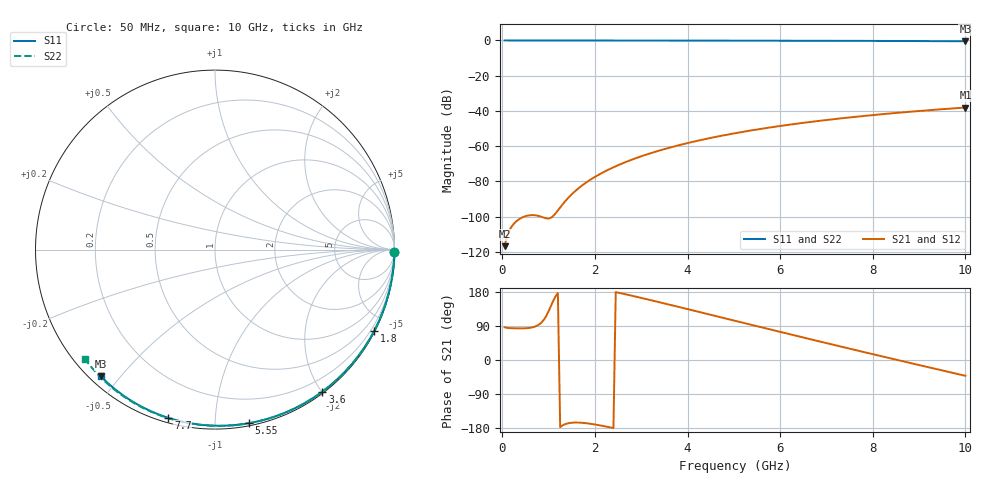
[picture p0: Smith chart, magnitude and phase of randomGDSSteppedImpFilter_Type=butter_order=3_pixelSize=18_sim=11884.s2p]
! freq	dB(S11)	phase(S11)	dB(S12)	phase(S12)
!  dB(S21)	phase(S21)	dB(S22)	phase(S22)
!S-par simulation data
#  GHz  S  DB  R 50
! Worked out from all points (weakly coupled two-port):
!   200 points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, 50 MHz to 10 GHz, reference 50 ohm
!   highest |S21| = -38.08 dB at 10 GHz (marker M1); lowest = -116.8 dB at 50 MHz (marker M2)
!   lowest |S11| = -0.4 dB at 10 GHz (marker M3), VSWR 39.00, Z = 1.54 - j22.2 ohm
!   |S11| at or under -10 dB: nowhere
!   |S22| runs from -0.5 to 0.0 dB; largest |S21 - S12| = 0
!   S11 on the Smith chart (normalised r, x): 50 MHz: open; 1.8 GHz: 0.04, -4.16; 3.6 GHz: 0.02, -2.01; 5.55 GHz: 0.02, -1.21; 7.7 GHz: 0.02, -0.76; 10 GHz: 0.03, -0.44
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0.05  -0.00 -0.8  -116.79 86.5  -116.79 86.5  -0.00 -0.8
0.45  -0.01 -6.9  -100.24 83.5  -100.24 83.5  -0.01 -7.3
0.9  -0.02 -13.7  -100.63 106.7  -100.63 106.7  -0.02 -14.5
1.75  -0.03 -26.3  -81.80 -166.0  -81.80 -166.0  -0.04 -27.9
1.8  -0.03 -27.1  -80.85 -166.7  -80.85 -166.7  -0.04 -28.7
1.85  -0.04 -27.8  -79.96 -167.4  -79.96 -167.4  -0.04 -29.4
2  -0.04 -30.0  -77.47 -170.2  -77.47 -170.2  -0.04 -31.8
2.15  -0.04 -32.2  -75.25 -173.4  -75.25 -173.4  -0.04 -34.1
2.35  -0.04 -35.1  -72.61 -178.3  -72.61 -178.3  -0.05 -37.2
2.55  -0.05 -38.0  -70.26 176.5  -70.26 176.5  -0.05 -40.2
2.95  -0.06 -43.7  -66.22 165.3  -66.22 165.3  -0.06 -46.3
3.4  -0.07 -50.1  -62.43 152.2  -62.43 152.2  -0.07 -53.0
3.6  -0.07 -52.9  -60.95 146.3  -60.95 146.3  -0.08 -56.0
4.3  -0.09 -62.5  -56.45 125.3  -56.45 125.3  -0.09 -66.1
5.05  -0.11 -72.5  -52.55 102.7  -52.55 102.7  -0.12 -76.7
5.55  -0.13 -79.0  -50.34 87.7  -50.34 87.7  -0.14 -83.5
6.1  -0.15 -86.0  -48.18 71.2  -48.18 71.2  -0.16 -90.9
6.7  -0.18 -93.5  -46.10 53.4  -46.10 53.4  -0.19 -98.7
7.7  -0.24 -105.5  -43.15 24.1  -43.15 24.1  -0.26 -111.5
8.35  -0.29 -113.1  -41.51 5.3  -41.51 5.3  -0.31 -119.6
9.2  -0.36 -122.9  -39.62 -19.0  -39.62 -19.0  -0.39 -130.0
10  -0.45 -132.1  -38.08 -41.7  -38.08 -41.7  -0.47 -139.8
